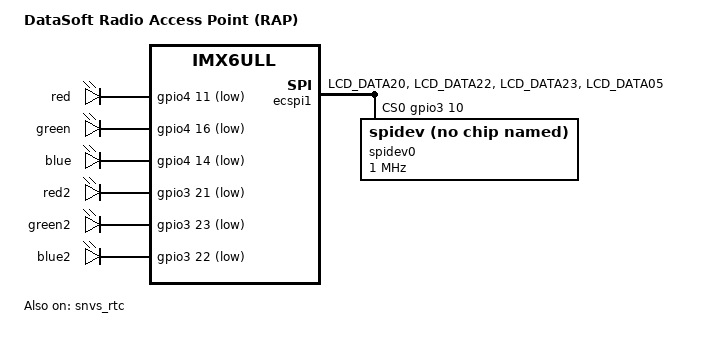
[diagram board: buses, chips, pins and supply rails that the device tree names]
/dts-v1/;

#include "varsom-1316.dtsi"

/ {
	model = "DataSoft Radio Access Point (RAP)";
	compatible = "fsl,imx6ull-var-dart", "fsl,imx6ull";

	aliases {
		rtc0 = &snvs_rtc;
	};

	rfmute {
		compatible = "gpio-leds";
		pinctrl-names = "default";
		pinctrl-0 = <&pinctrl_rfmute>;
		red {
			label = "red";
			gpios = <&gpio4 11 GPIO_ACTIVE_LOW>;
			default-state = "on";
		};
		green {
			label = "green";
			gpios = <&gpio4 16 GPIO_ACTIVE_LOW>;
			default-state = "on";
		};
		blue {
			label = "blue";
			gpios = <&gpio4 14 GPIO_ACTIVE_LOW>;
			default-state = "off";
		};
	};

	ctrlzero {
		compatible = "gpio-leds";
		pinctrl-names = "default";
		pinctrl-0 = <&pinctrl_ctrl_zero>;
		red2 {
			label = "red2";
			gpios = <&gpio3 21 GPIO_ACTIVE_LOW>;
			default-state = "off";
		};
		green2 {
			label = "green2";
			gpios = <&gpio3 23 GPIO_ACTIVE_LOW>;
			default-state = "off";
		};
		blue2 {
			label = "blue2";
			gpios = <&gpio3 22 GPIO_ACTIVE_LOW>;
			default-state = "off";
		};
	};
};

&iomuxc_snvs {
	pinctrl-names = "default_snvs";
	pinctrl-0 = <&pinctrl_hog_2>;
	varsom-1189 {
		pinctrl_hog_2: hoggrp-2 {
			fsl,pins = <
				MX6ULL_PAD_SNVS_TAMPER0__GPIO5_IO00	0x1b0b0
				MX6ULL_PAD_SNVS_TAMPER4__GPIO5_IO04	0x1b0b0	/* BT Enable */
				MX6ULL_PAD_SNVS_TAMPER6__GPIO5_IO06	0x03029	/* WLAN enable */
			>;
		};

		pinctrl_cpld_snvs: cpldsnvsgrp {
			fsl,pins = <
				MX6ULL_PAD_SNVS_TAMPER8__GPIO5_IO08	0xb0b0	/* GPIO_MCU_CPLD_SP3: 136 */
				MX6ULL_PAD_SNVS_TAMPER7__GPIO5_IO07	0xb0b0	/* GPIO_MCU_ZEROIZE: 135 */
				MX6ULL_PAD_SNVS_TAMPER5__GPIO5_IO05	0xb0b0	/* GPIO_RAP_ACTIVE: 133 */
				MX6ULL_PAD_SNVS_TAMPER3__GPIO5_IO03	0xb0b0	/* GPIO_SRAM_STATUS: 131 */
			>;
		};
	};
};

&iomuxc {
	varsom-1189 {

		pinctrl_ecspi1_cs_1: ecspi1_cs_grp-1 {
			fsl,pins = <
				MX6UL_PAD_LCD_DATA05__GPIO3_IO10	0x1b0b0
			>;
		};

		pinctrl_ecspi1_1: ecspi1grp-1 {
			fsl,pins = <
				MX6UL_PAD_LCD_DATA20__ECSPI1_SCLK	0x10b0
				MX6UL_PAD_LCD_DATA22__ECSPI1_MOSI	0x10b0
				MX6UL_PAD_LCD_DATA23__ECSPI1_MISO	0x10b0
			>;
		};

		pinctrl_cpld: cpldgrp {
			fsl,pins = <
				MX6UL_PAD_CSI_DATA03__GPIO4_IO24	0x1b0b0	/* GPIO_MCU_CPLD_SP0: 120 */
				MX6UL_PAD_CSI_DATA02__GPIO4_IO23	0x1b0b0	/* GPIO_MCU_CPLD_SP1: 119*/
				MX6UL_PAD_CSI_HSYNC__GPIO4_IO20		0x1b0b0	/* GPIO_MCU_CPLD_SP2: 116 */
				MX6UL_PAD_CSI_PIXCLK__GPIO4_IO18	0x1b0b0	/* GPIO_MCU_CPLD_INITn: 114*/
			>;
		};

		pinctrl_rfmute: rfmutegrp {
			fsl,pins = <
				MX6UL_PAD_LCD_HSYNC__GPIO3_IO02		0xb0    /* GPIO_PB_RF_MUTEN: 66 */
				MX6UL_PAD_NAND_WP_B__GPIO4_IO11		0x1b0b0 /* GPIO_RF_MUTE_STAT_RED_LEDN: 107 */
				MX6UL_PAD_NAND_DQS__GPIO4_IO16		0x1b0b0 /* GPIO_RF_MUTE_STAT_GRN_LEDN: 112*/
				MX6UL_PAD_NAND_CE1_B__GPIO4_IO14	0x1b0b0 /* GPIO_RF_MUTE_STAT_BLU_LEDN: 110*/
			>;
		};

		pinctrl_ctrl_zero: ctrlzerogrp {
			fsl,pins = <
				MX6UL_PAD_LCD_DATA19__GPIO3_IO24	0xb0    /* GPIO_PB_CTRL_ZERON: 88 */
				MX6UL_PAD_LCD_DATA16__GPIO3_IO21	0x1b0b0 /* GPIO_CTRL_ZERO_RED_LEDN: 85 */
				MX6UL_PAD_LCD_DATA18__GPIO3_IO23	0x1b0b0 /* GPIO_CTRL_ZERO_GRN_LEDN: 87 */
				MX6UL_PAD_LCD_DATA17__GPIO3_IO22	0x1b0b0 /* GPIO_CTRL_ZERO_BLU_LEDN: 86 */
			>;
		};
	};
};

&ecspi1 {
	cs-gpios = <&gpio3 10 0>;
	pinctrl-names = "default";
	pinctrl-0 = <&pinctrl_ecspi1_1 &pinctrl_ecspi1_cs_1>;
	status = "okay";

	spidev0: spidev@0 {
		compatible = "spidev";
		pinctrl-names = "default";
		pinctrl-0 = <&pinctrl_cpld &pinctrl_cpld_snvs>;
		spi-max-frequency = <1000000>;
		reg = <0>;
	};
};

&snvs_rtc {
	status = "okay";
};

